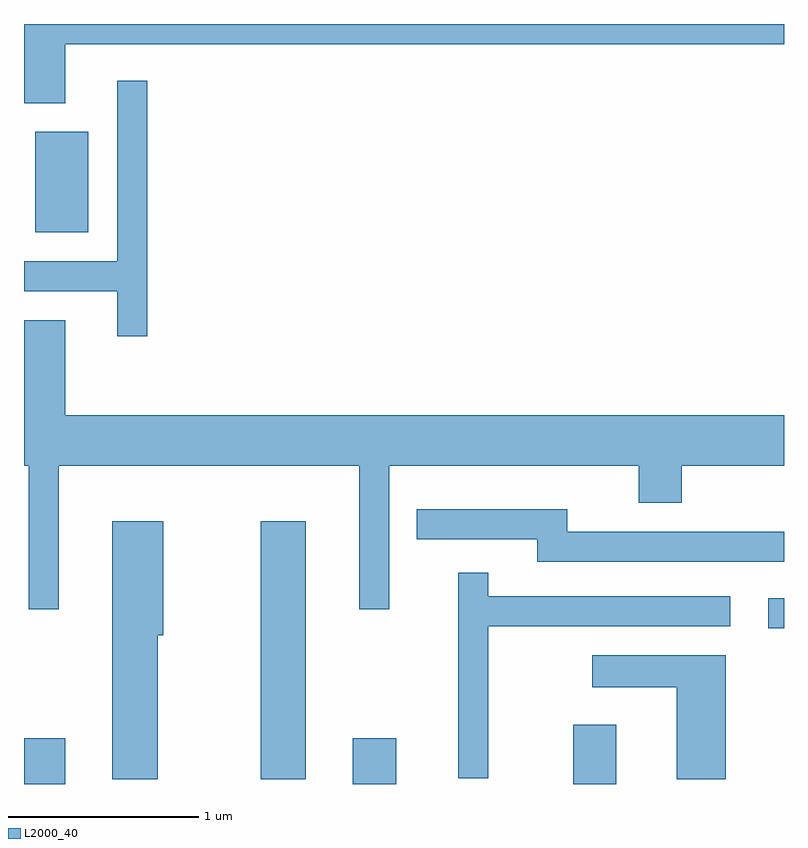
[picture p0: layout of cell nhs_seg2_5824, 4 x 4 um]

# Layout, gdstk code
import gdstk
lib = gdstk.Library(unit=1e-6, precision=1e-09)
def R(c, l, rs):  # rectangles x0, y0, x1, y1
    for r in rs: c.add(gdstk.rectangle(r[:2], r[2:], *l))
def P(c, l, *ps):  # polygons
    for p in ps: c.add(gdstk.Polygon(p, *l))
L2000_40 = (2000, 40)

nhs_seg2_5824 = lib.new_cell('nhs_seg2_5824')
R(nhs_seg2_5824, L2000_40, [(357.611,997.802,357.829,998.044), (359.341,997.802,359.569,998.044), (360.501,997.802,360.729,998.114), (358.856,997.826,359.094,999.184), (361.528,998.621,361.611,998.779), (357.671,1000.706,357.949,1001.234)])
P(nhs_seg2_5824, L2000_40, [(357.829,1001.696),(361.611,1001.696),(361.611,1001.802),(357.611,1001.802),(357.611,1001.386),(357.829,1001.386)],
  [(358.259,1001.503),(358.101,1001.503),(358.101,1000.554),(357.611,1000.554),(357.611,1000.396),(358.101,1000.396),(358.101,1000.158),(358.259,1000.158)],
  [(357.794,999.476),(359.376,999.476),(359.376,998.723),(359.534,998.723),(359.534,999.476),(360.846,999.476),(360.846,999.281),(361.074,999.281),(361.074,999.476),(361.611,999.476),(361.611,999.744),(357.829,999.744),(357.829,1000.244),(357.611,1000.244),(357.611,999.476),(357.636,999.476),(357.636,998.723),(357.794,998.723)],
  [(361.611,999.129),(360.469,999.129),(360.469,999.249),(359.678,999.249),(359.678,999.091),(360.311,999.091),(360.311,998.971),(361.611,998.971)],
  [(358.314,998.586),(358.344,998.586),(358.344,999.184),(358.076,999.184),(358.076,997.826),(358.314,997.826)],
  [(360.054,998.631),(361.328,998.631),(361.328,998.789),(360.054,998.789),(360.054,998.913),(359.896,998.913),(359.896,997.833),(360.054,997.833)],
  [(361.304,998.479),(360.603,998.479),(360.603,998.311),(361.046,998.311),(361.046,997.826),(361.304,997.826)])

lib.write_gds('nhs_seg2_5824.gds')
